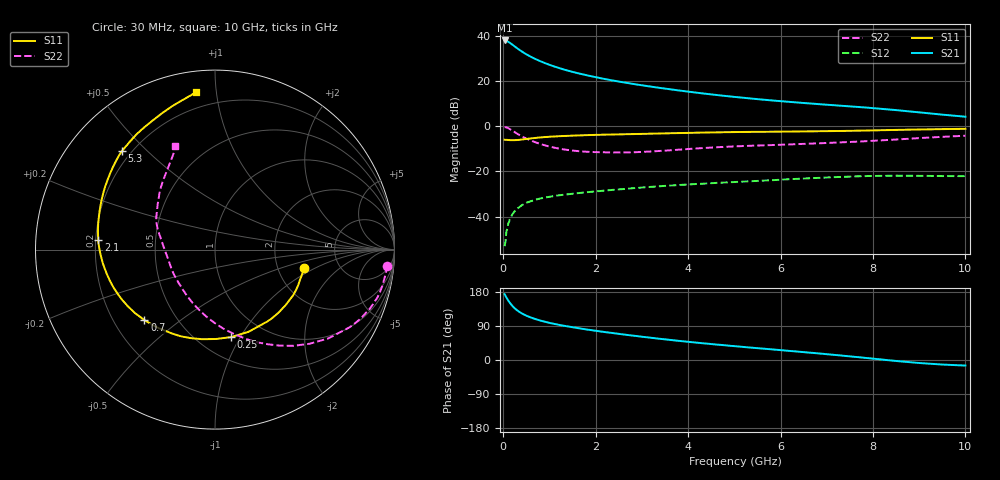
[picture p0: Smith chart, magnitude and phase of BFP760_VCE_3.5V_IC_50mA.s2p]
! Infineon Technologies  Discrete & RF Semiconductors
! BFP760
! VCE =  3.5 V,  IC =  50 mA
! Common Emitter S-Parameters:  Nov 2012
# GHz  S  MA  R  50
!  f  S11  S21  S12  S22
! GHz  MAG  ANG  MAG  ANG  MAG  ANG  MAG  ANG
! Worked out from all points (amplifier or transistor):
!   99 points, 30 MHz to 10 GHz, reference 50 ohm
!   highest |S21| = 38.1 dB at 30 MHz (marker M1)
!   |S21| within 3 dB of that: start of sweep to 271.8 MHz
!   unconditionally stable (mu >= 1): 3.711 GHz to end of sweep
!   at 350 MHz: K = 0.37, MSG = 34.9 dB, |S12| = -35.8 dB
!   at 3.5 GHz: K = 0.98, MSG = 21.6 dB, |S12| = -26.4 dB
!   at 10 GHz: K = 1.05, MAG = 11.9 dB, |S12| = -22.1 dB
!   S11 on the Smith chart (normalised r, x): 30 MHz: 2.80, -0.77; 250 MHz: 0.71, -0.91; 700 MHz: 0.33, -0.38; 2.1 GHz: 0.21, +0.04; 5.3 GHz: 0.16, +0.42; 10 GHz: 0.11, +0.88
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0.03  0.5056 -11.7  80.79 173.7  0.0022 82.3  0.9625 -5.3
0.05  0.5027 -19.7  80.53 168.8  0.0028 61.9  0.9568 -10.1
0.07  0.5045 -27.0  79.24 164.6  0.0047 80.1  0.9493 -14.4
0.1  0.5009 -37.7  76.35 158.7  0.0061 77.4  0.924 -20.8
0.13  0.4973 -47.7  73.06 153.2  0.0078 69.8  0.8893 -26.6
0.15  0.4954 -54.0  70.83 149.8  0.0089 70.0  0.8647 -30.1
0.2  0.4948 -67.8  64.92 142.5  0.0113 65.8  0.8021 -38.1
0.25  0.4958 -79.6  59.46 136.3  0.0132 61.8  0.7433 -44.9
0.35  0.5044 -98.2  49.95 126.9  0.0162 56.8  0.6454 -56.0
0.45  0.5196 -111.8  42.81 119.9  0.0189 52.8  0.5697 -65.2
0.6  0.542 -127.2  35.02 112.0  0.0219 48.8  0.4851 -76.9
0.7  0.5556 -135.0  31.17 107.9  0.0237 46.3  0.4431 -83.9
0.9  0.5797 -147.3  25.46 101.0  0.0263 43.1  0.38 -96.5
1.1  0.5974 -156.6  21.44 95.4  0.0285 41.3  0.3381 -107.5
1.7  0.6345 -175.7  14.46 82.5  0.0338 39.1  0.2778 -134.1
2.1  0.6526 175.4  11.78 75.4  0.0368 38.6  0.2677 -148.3
3.4  0.6967 153.4  7.132 55.8  0.0471 36.8  0.2861 177.2
5.1  0.7511 134.8  4.415 35.5  0.059 32.7  0.3637 154.0
5.3  0.7552 133.3  4.216 33.3  0.0603 32.2  0.3703 152.1
6.7  0.7791 123.4  3.193 18.7  0.0713 27.4  0.417 139.3
8.5  0.8359 106.2  2.3 -2.6  0.0806 15.9  0.5113 121.9
10  0.8847 96.8  1.641 -14.7  0.0788 10.6  0.6208 111.3
